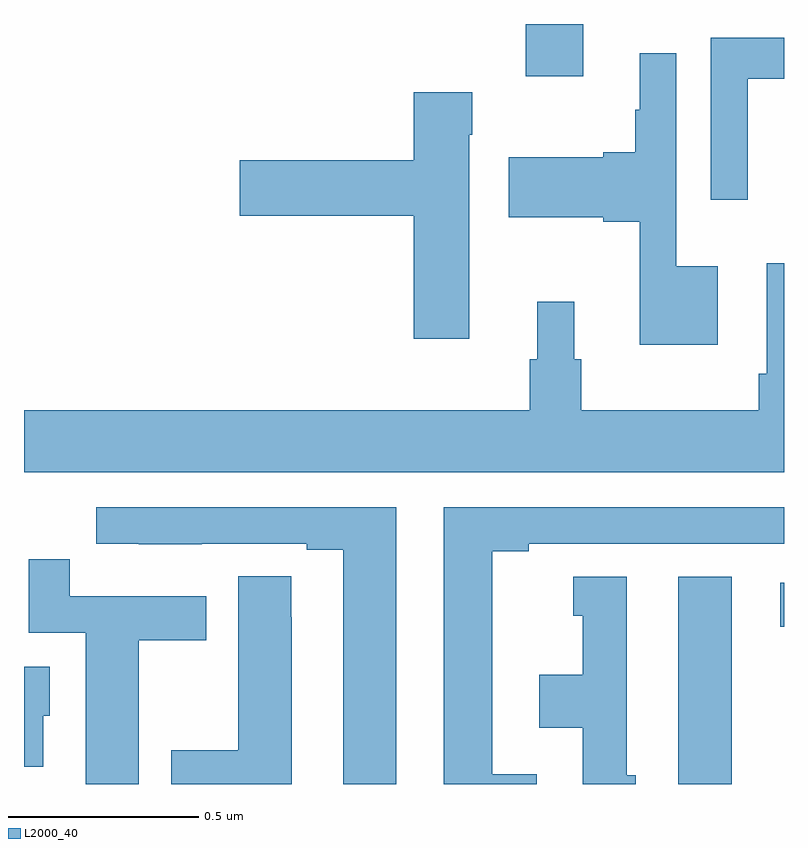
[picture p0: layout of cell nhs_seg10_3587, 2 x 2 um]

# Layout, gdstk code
import gdstk
lib = gdstk.Library(unit=1e-6, precision=1e-09)
def R(c, l, rs):  # rectangles x0, y0, x1, y1
    for r in rs: c.add(gdstk.rectangle(r[:2], r[2:], *l))
def P(c, l, *ps):  # polygons
    for p in ps: c.add(gdstk.Polygon(p, *l))
L2000_40 = (2000, 40)

nhs_seg10_3587 = lib.new_cell('nhs_seg10_3587')
R(nhs_seg10_3587, L2000_40, [(156.722,1295.5,156.862,1296.046), (156.99,1295.914,157,1296.03), (156.32,1297.362,156.472,1297.5)])
P(nhs_seg10_3587, L2000_40, [(156.904,1297.356),(157,1297.356),(157,1297.464),(156.807,1297.464),(156.807,1297.038),(156.904,1297.038)],
  [(156.826,1296.862),(156.717,1296.862),(156.717,1297.423),(156.62,1297.423),(156.62,1297.274),(156.609,1297.274),(156.609,1297.163),(156.524,1297.163),(156.524,1297.15),(156.276,1297.15),(156.276,1296.992),(156.524,1296.992),(156.524,1296.98),(156.62,1296.98),(156.62,1296.656),(156.826,1296.656)],
  [(156.172,1297.208),(156.18,1297.208),(156.18,1297.321),(156.026,1297.321),(156.026,1297.142),(155.568,1297.142),(155.568,1296.995),(156.026,1296.995),(156.026,1296.672),(156.172,1296.672)],
  [(157,1296.871),(156.954,1296.871),(156.954,1296.58),(156.934,1296.58),(156.934,1296.484),(156.467,1296.484),(156.467,1296.618),(156.448,1296.618),(156.448,1296.769),(156.35,1296.769),(156.35,1296.618),(156.331,1296.618),(156.331,1296.484),(155,1296.484),(155,1296.32),(157,1296.32)],
  [(155.98,1296.228),(155.19,1296.228),(155.19,1296.132),(155.302,1296.132),(155.302,1296.131),(155.468,1296.131),(155.468,1296.132),(155.744,1296.132),(155.744,1296.117),(155.84,1296.117),(155.84,1295.5),(155.98,1295.5)],
  [(156.349,1295.526),(156.232,1295.526),(156.232,1296.112),(156.328,1296.112),(156.328,1296.132),(157,1296.132),(157,1296.228),(156.104,1296.228),(156.104,1295.5),(156.349,1295.5)],
  [(155.302,1295.878),(155.479,1295.878),(155.479,1295.994),(155.12,1295.994),(155.12,1296.091),(155.012,1296.091),(155.012,1295.898),(155.162,1295.898),(155.162,1295.536),(155.163,1295.536),(155.163,1295.5),(155.302,1295.5)],
  [(155.704,1295.939),(155.703,1295.939),(155.703,1296.047),(155.564,1296.047),(155.564,1295.589),(155.387,1295.589),(155.387,1295.5),(155.704,1295.5)],
  [(156.61,1295.523),(156.586,1295.523),(156.586,1296.046),(156.446,1296.046),(156.446,1295.943),(156.47,1295.943),(156.47,1295.788),(156.356,1295.788),(156.356,1295.648),(156.47,1295.648),(156.47,1295.5),(156.61,1295.5)],
  [(155.05,1295.679),(155.068,1295.679),(155.068,1295.809),(155,1295.809),(155,1295.546),(155.05,1295.546)])

lib.write_gds('nhs_seg10_3587.gds')
